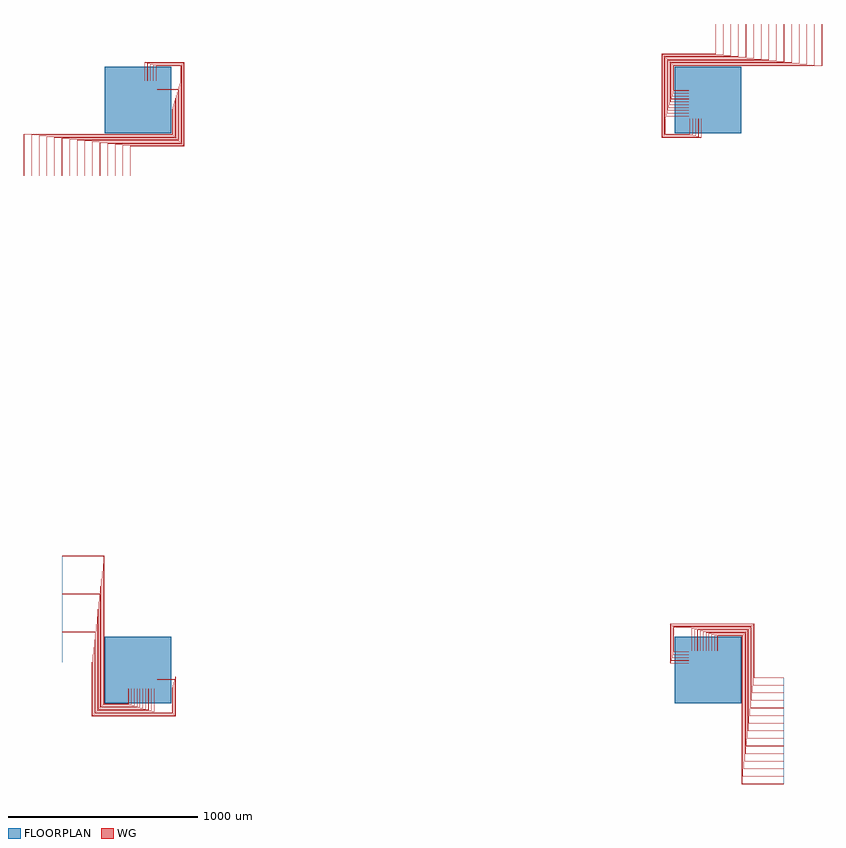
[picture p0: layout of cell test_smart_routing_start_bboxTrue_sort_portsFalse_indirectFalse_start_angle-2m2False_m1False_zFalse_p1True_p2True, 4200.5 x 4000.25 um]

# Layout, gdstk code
import gdstk
lib = gdstk.Library(unit=1e-6, precision=1e-09)
def R(c, l, rs):  # rectangles x0, y0, x1, y1
    for r in rs: c.add(gdstk.rectangle(r[:2], r[2:], *l))
def P(c, l, *ps):  # polygons
    for p in ps: c.add(gdstk.Polygon(p, *l))
WG = (1, 0)
FLOORPLAN = (10, 0)

test_smart_routing_start = lib.new_cell('test_smart_routing_start_bboxTrue_sort_portsFalse_indirectFalse_start_angle-2m2False_m1False_zFalse_p1True_p2True')
P(test_smart_routing_start, WG, [(2820.5,3049.75),(2820.5,3179.5),(3599.75,3179.5),(3599.75,3400),(3599.95,3400),(3599.95,3179.3),(2820.7,3179.3),(2820.7,3049.95),(2900,3049.95),(2900,3049.75)],
  [(2820.8,3050.05),(2820.8,3179.2),(3600.05,3179.2),(3600.05,3400),(3600.25,3400),(3600.25,3179),(2821,3179),(2821,3050.25),(2900,3050.25),(2900,3050.05)],
  [(2816,3034.75),(2816,3184),(3559.75,3184),(3559.75,3400),(3559.95,3400),(3559.95,3183.8),(2816.2,3183.8),(2816.2,3034.95),(2900,3034.95),(2900,3034.75)],
  [(2816.3,3035.05),(2816.3,3183.7),(3560.05,3183.7),(3560.05,3400),(3560.25,3400),(3560.25,3183.5),(2816.5,3183.5),(2816.5,3035.25),(2900,3035.25),(2900,3035.05)],
  [(2811.5,3019.75),(2811.5,3188.5),(3519.75,3188.5),(3519.75,3400),(3519.95,3400),(3519.95,3188.3),(2811.7,3188.3),(2811.7,3019.95),(2900,3019.95),(2900,3019.75)],
  [(2811.8,3020.05),(2811.8,3188.2),(3520.05,3188.2),(3520.05,3400),(3520.25,3400),(3520.25,3188),(2812,3188),(2812,3020.25),(2900,3020.25),(2900,3020.05)],
  [(2807,3004.75),(2807,3193),(3479.75,3193),(3479.75,3400),(3479.95,3400),(3479.95,3192.8),(2807.2,3192.8),(2807.2,3004.95),(2900,3004.95),(2900,3004.75)],
  [(2807.3,3005.05),(2807.3,3192.7),(3480.05,3192.7),(3480.05,3400),(3480.25,3400),(3480.25,3192.5),(2807.5,3192.5),(2807.5,3005.25),(2900,3005.25),(2900,3005.05)],
  [(2802.5,2989.75),(2802.5,3197.5),(3439.75,3197.5),(3439.75,3400),(3439.95,3400),(3439.95,3197.3),(2802.7,3197.3),(2802.7,2989.95),(2900,2989.95),(2900,2989.75)],
  [(2802.8,2990.05),(2802.8,3197.2),(3440.05,3197.2),(3440.05,3400),(3440.25,3400),(3440.25,3197),(2803,3197),(2803,2990.25),(2900,2990.25),(2900,2990.05)],
  [(2798,2974.75),(2798,3202),(3399.75,3202),(3399.75,3400),(3399.95,3400),(3399.95,3201.8),(2798.2,3201.8),(2798.2,2974.95),(2900,2974.95),(2900,2974.75)],
  [(2798.3,2975.05),(2798.3,3201.7),(3400.05,3201.7),(3400.05,3400),(3400.25,3400),(3400.25,3201.5),(2798.5,3201.5),(2798.5,2975.25),(2900,2975.25),(2900,2975.05)],
  [(2793.5,2959.75),(2793.5,3206.5),(3359.75,3206.5),(3359.75,3400),(3359.95,3400),(3359.95,3206.3),(2793.7,3206.3),(2793.7,2959.95),(2900,2959.95),(2900,2959.75)],
  [(2793.8,2960.05),(2793.8,3206.2),(3360.05,3206.2),(3360.05,3400),(3360.25,3400),(3360.25,3206),(2794,3206),(2794,2960.25),(2900,2960.25),(2900,2960.05)],
  [(2789,2944.75),(2789,3211),(3319.75,3211),(3319.75,3400),(3319.95,3400),(3319.95,3210.8),(2789.2,3210.8),(2789.2,2944.95),(2900,2944.95),(2900,2944.75)],
  [(2789.3,2945.05),(2789.3,3210.7),(3320.05,3210.7),(3320.05,3400),(3320.25,3400),(3320.25,3210.5),(2789.5,3210.5),(2789.5,2945.25),(2900,2945.25),(2900,2945.05)],
  [(2784.5,2929.75),(2784.5,3215.5),(3279.75,3215.5),(3279.75,3400),(3279.95,3400),(3279.95,3215.3),(2784.7,3215.3),(2784.7,2929.95),(2900,2929.95),(2900,2929.75)],
  [(2784.8,2930.05),(2784.8,3215.2),(3280.05,3215.2),(3280.05,3400),(3280.25,3400),(3280.25,3215),(2785,3215),(2785,2930.25),(2900,2930.25),(2900,2930.05)],
  [(2780,2914.75),(2780,3220),(3239.75,3220),(3239.75,3400),(3239.95,3400),(3239.95,3219.8),(2780.2,3219.8),(2780.2,2914.95),(2900,2914.95),(2900,2914.75)],
  [(2780.3,2915.05),(2780.3,3219.7),(3240.05,3219.7),(3240.05,3400),(3240.25,3400),(3240.25,3219.5),(2780.5,3219.5),(2780.5,2915.25),(2900,2915.25),(2900,2915.05)],
  [(2757.5,2802.5),(2757.5,3242.5),(3039.75,3242.5),(3039.75,3400),(3039.95,3400),(3039.95,3242.3),(2757.7,3242.3),(2757.7,2802.7),(2965.05,2802.7),(2965.05,2900),(2965.25,2900),(2965.25,2802.5)],
  [(2757.8,2802.8),(2757.8,3242.2),(3040.05,3242.2),(3040.05,3400),(3040.25,3400),(3040.25,3242),(2758,3242),(2758,2803),(2964.75,2803),(2964.75,2900),(2964.95,2900),(2964.95,2802.8)],
  [(2762,2807),(2762,3238),(3079.75,3238),(3079.75,3400),(3079.95,3400),(3079.95,3237.8),(2762.2,3237.8),(2762.2,2807.2),(2950.05,2807.2),(2950.05,2900),(2950.25,2900),(2950.25,2807)],
  [(2762.3,2807.3),(2762.3,3237.7),(3080.05,3237.7),(3080.05,3400),(3080.25,3400),(3080.25,3237.5),(2762.5,3237.5),(2762.5,2807.5),(2949.75,2807.5),(2949.75,2900),(2949.95,2900),(2949.95,2807.3)],
  [(2766.5,2811.5),(2766.5,3233.5),(3119.75,3233.5),(3119.75,3400),(3119.95,3400),(3119.95,3233.3),(2766.7,3233.3),(2766.7,2811.7),(2935.05,2811.7),(2935.05,2900),(2935.25,2900),(2935.25,2811.5)],
  [(2766.8,2811.8),(2766.8,3233.2),(3120.05,3233.2),(3120.05,3400),(3120.25,3400),(3120.25,3233),(2767,3233),(2767,2812),(2934.75,2812),(2934.75,2900),(2934.95,2900),(2934.95,2811.8)],
  [(2771,2816),(2771,3229),(3159.75,3229),(3159.75,3400),(3159.95,3400),(3159.95,3228.8),(2771.2,3228.8),(2771.2,2816.2),(2920.05,2816.2),(2920.05,2900),(2920.25,2900),(2920.25,2816)],
  [(2771.3,2816.3),(2771.3,3228.7),(3160.05,3228.7),(3160.05,3400),(3160.25,3400),(3160.25,3228.5),(2771.5,3228.5),(2771.5,2816.5),(2919.75,2816.5),(2919.75,2900),(2919.95,2900),(2919.95,2816.3)],
  [(2775.5,2820.5),(2775.5,3224.5),(3199.75,3224.5),(3199.75,3400),(3199.95,3400),(3199.95,3224.3),(2775.7,3224.3),(2775.7,2820.7),(2905.05,2820.7),(2905.05,2900),(2905.25,2900),(2905.25,2820.5)],
  [(2775.8,2820.8),(2775.8,3224.2),(3200.05,3224.2),(3200.05,3400),(3200.25,3400),(3200.25,3224),(2776,3224),(2776,2821),(2904.75,2821),(2904.75,2900),(2904.95,2900),(2904.95,2820.8)],
  [(-600.25,2600),(-600.25,2821),(179,2821),(179,2949.75),(100,2949.75),(100,2949.95),(179.2,2949.95),(179.2,2820.8),(-600.05,2820.8),(-600.05,2600)],
  [(-599.95,2600),(-599.95,2820.7),(179.3,2820.7),(179.3,2950.05),(100,2950.05),(100,2950.25),(179.5,2950.25),(179.5,2820.5),(-599.75,2820.5),(-599.75,2600)],
  [(-560.25,2600),(-560.25,2816.5),(183.5,2816.5),(183.5,2964.75),(100,2964.75),(100,2964.95),(183.7,2964.95),(183.7,2816.3),(-560.05,2816.3),(-560.05,2600)],
  [(-559.95,2600),(-559.95,2816.2),(183.8,2816.2),(183.8,2965.05),(100,2965.05),(100,2965.25),(184,2965.25),(184,2816),(-559.75,2816),(-559.75,2600)],
  [(-520.25,2600),(-520.25,2812),(188,2812),(188,2979.75),(100,2979.75),(100,2979.95),(188.2,2979.95),(188.2,2811.8),(-520.05,2811.8),(-520.05,2600)],
  [(-519.95,2600),(-519.95,2811.7),(188.3,2811.7),(188.3,2980.05),(100,2980.05),(100,2980.25),(188.5,2980.25),(188.5,2811.5),(-519.75,2811.5),(-519.75,2600)],
  [(-480.25,2600),(-480.25,2807.5),(192.5,2807.5),(192.5,2994.75),(100,2994.75),(100,2994.95),(192.7,2994.95),(192.7,2807.3),(-480.05,2807.3),(-480.05,2600)],
  [(-479.95,2600),(-479.95,2807.2),(192.8,2807.2),(192.8,2995.05),(100,2995.05),(100,2995.25),(193,2995.25),(193,2807),(-479.75,2807),(-479.75,2600)],
  [(-440.25,2600),(-440.25,2803),(197,2803),(197,3009.75),(100,3009.75),(100,3009.95),(197.2,3009.95),(197.2,2802.8),(-440.05,2802.8),(-440.05,2600)],
  [(-439.95,2600),(-439.95,2802.7),(197.3,2802.7),(197.3,3010.05),(100,3010.05),(100,3010.25),(197.5,3010.25),(197.5,2802.5),(-439.75,2802.5),(-439.75,2600)],
  [(-400.25,2600),(-400.25,2798.5),(201.5,2798.5),(201.5,3024.75),(100,3024.75),(100,3024.95),(201.7,3024.95),(201.7,2798.3),(-400.05,2798.3),(-400.05,2600)],
  [(-399.95,2600),(-399.95,2798.2),(201.8,2798.2),(201.8,3025.05),(100,3025.05),(100,3025.25),(202,3025.25),(202,2798),(-399.75,2798),(-399.75,2600)],
  [(-360.25,2600),(-360.25,2794),(206,2794),(206,3039.75),(100,3039.75),(100,3039.95),(206.2,3039.95),(206.2,2793.8),(-360.05,2793.8),(-360.05,2600)],
  [(-359.95,2600),(-359.95,2793.7),(206.3,2793.7),(206.3,3040.05),(100,3040.05),(100,3040.25),(206.5,3040.25),(206.5,2793.5),(-359.75,2793.5),(-359.75,2600)],
  [(-320.25,2600),(-320.25,2789.5),(210.5,2789.5),(210.5,3054.75),(100,3054.75),(100,3054.95),(210.7,3054.95),(210.7,2789.3),(-320.05,2789.3),(-320.05,2600)],
  [(-319.95,2600),(-319.95,2789.2),(210.8,2789.2),(210.8,3055.05),(100,3055.05),(100,3055.25),(211,3055.25),(211,2789),(-319.75,2789),(-319.75,2600)],
  [(-280.25,2600),(-280.25,2785),(215,2785),(215,3069.75),(100,3069.75),(100,3069.95),(215.2,3069.95),(215.2,2784.8),(-280.05,2784.8),(-280.05,2600)],
  [(-279.95,2600),(-279.95,2784.7),(215.3,2784.7),(215.3,3070.05),(100,3070.05),(100,3070.25),(215.5,3070.25),(215.5,2784.5),(-279.75,2784.5),(-279.75,2600)],
  [(-240.25,2600),(-240.25,2780.5),(219.5,2780.5),(219.5,3084.75),(100,3084.75),(100,3084.95),(219.7,3084.95),(219.7,2780.3),(-240.05,2780.3),(-240.05,2600)],
  [(-239.95,2600),(-239.95,2780.2),(219.8,2780.2),(219.8,3085.05),(100,3085.05),(100,3085.25),(220,3085.25),(220,2780),(-239.75,2780),(-239.75,2600)],
  [(-40.25,2600),(-40.25,2758),(242,2758),(242,3197),(35.25,3197),(35.25,3100),(35.05,3100),(35.05,3197.2),(242.2,3197.2),(242.2,2757.8),(-40.05,2757.8),(-40.05,2600)],
  [(-39.95,2600),(-39.95,2757.7),(242.3,2757.7),(242.3,3197.3),(34.95,3197.3),(34.95,3100),(34.75,3100),(34.75,3197.5),(242.5,3197.5),(242.5,2757.5),(-39.75,2757.5),(-39.75,2600)],
  [(-80.25,2600),(-80.25,2762.5),(237.5,2762.5),(237.5,3192.5),(50.25,3192.5),(50.25,3100),(50.05,3100),(50.05,3192.7),(237.7,3192.7),(237.7,2762.3),(-80.05,2762.3),(-80.05,2600)],
  [(-79.95,2600),(-79.95,2762.2),(237.8,2762.2),(237.8,3192.8),(49.95,3192.8),(49.95,3100),(49.75,3100),(49.75,3193),(238,3193),(238,2762),(-79.75,2762),(-79.75,2600)],
  [(-120.25,2600),(-120.25,2767),(233,2767),(233,3188),(65.25,3188),(65.25,3100),(65.05,3100),(65.05,3188.2),(233.2,3188.2),(233.2,2766.8),(-120.05,2766.8),(-120.05,2600)],
  [(-119.95,2600),(-119.95,2766.7),(233.3,2766.7),(233.3,3188.3),(64.95,3188.3),(64.95,3100),(64.75,3100),(64.75,3188.5),(233.5,3188.5),(233.5,2766.5),(-119.75,2766.5),(-119.75,2600)],
  [(-160.25,2600),(-160.25,2771.5),(228.5,2771.5),(228.5,3183.5),(80.25,3183.5),(80.25,3100),(80.05,3100),(80.05,3183.7),(228.7,3183.7),(228.7,2771.3),(-160.05,2771.3),(-160.05,2600)],
  [(-159.95,2600),(-159.95,2771.2),(228.8,2771.2),(228.8,3183.8),(79.95,3183.8),(79.95,3100),(79.75,3100),(79.75,3184),(229,3184),(229,2771),(-159.75,2771),(-159.75,2600)],
  [(-200.25,2600),(-200.25,2776),(224,2776),(224,3179),(95.25,3179),(95.25,3100),(95.05,3100),(95.05,3179.2),(224.2,3179.2),(224.2,2775.8),(-200.05,2775.8),(-200.05,2600)],
  [(-199.95,2600),(-199.95,2775.7),(224.3,2775.7),(224.3,3179.3),(94.95,3179.3),(94.95,3100),(94.75,3100),(94.75,3179.5),(224.5,3179.5),(224.5,2775.5),(-199.75,2775.5),(-199.75,2600)],
  [(-179.5,-179.5),(-179.5,599.75),(-400,599.75),(-400,599.95),(-179.3,599.95),(-179.3,-179.3),(-49.95,-179.3),(-49.95,-100),(-49.75,-100),(-49.75,-179.5)],
  [(-179.2,-179.2),(-179.2,600.05),(-400,600.05),(-400,600.25),(-179,600.25),(-179,-179),(-50.25,-179),(-50.25,-100),(-50.05,-100),(-50.05,-179.2)],
  [(-184,-184),(-184,559.75),(-400,559.75),(-400,559.95),(-183.8,559.95),(-183.8,-183.8),(-34.95,-183.8),(-34.95,-100),(-34.75,-100),(-34.75,-184)],
  [(-183.7,-183.7),(-183.7,560.05),(-400,560.05),(-400,560.25),(-183.5,560.25),(-183.5,-183.5),(-35.25,-183.5),(-35.25,-100),(-35.05,-100),(-35.05,-183.7)],
  [(-188.5,-188.5),(-188.5,519.75),(-400,519.75),(-400,519.95),(-188.3,519.95),(-188.3,-188.3),(-19.95,-188.3),(-19.95,-100),(-19.75,-100),(-19.75,-188.5)],
  [(-188.2,-188.2),(-188.2,520.05),(-400,520.05),(-400,520.25),(-188,520.25),(-188,-188),(-20.25,-188),(-20.25,-100),(-20.05,-100),(-20.05,-188.2)],
  [(-193,-193),(-193,479.75),(-400,479.75),(-400,479.95),(-192.8,479.95),(-192.8,-192.8),(-4.95,-192.8),(-4.95,-100),(-4.75,-100),(-4.75,-193)],
  [(-192.7,-192.7),(-192.7,480.05),(-400,480.05),(-400,480.25),(-192.5,480.25),(-192.5,-192.5),(-5.25,-192.5),(-5.25,-100),(-5.05,-100),(-5.05,-192.7)],
  [(-197.5,-197.5),(-197.5,439.75),(-400,439.75),(-400,439.95),(-197.3,439.95),(-197.3,-197.3),(10.05,-197.3),(10.05,-100),(10.25,-100),(10.25,-197.5)],
  [(-197.2,-197.2),(-197.2,440.05),(-400,440.05),(-400,440.25),(-197,440.25),(-197,-197),(9.75,-197),(9.75,-100),(9.95,-100),(9.95,-197.2)],
  [(-202,-202),(-202,399.75),(-400,399.75),(-400,399.95),(-201.8,399.95),(-201.8,-201.8),(25.05,-201.8),(25.05,-100),(25.25,-100),(25.25,-202)],
  [(-201.7,-201.7),(-201.7,400.05),(-400,400.05),(-400,400.25),(-201.5,400.25),(-201.5,-201.5),(24.75,-201.5),(24.75,-100),(24.95,-100),(24.95,-201.7)],
  [(-206.5,-206.5),(-206.5,359.75),(-400,359.75),(-400,359.95),(-206.3,359.95),(-206.3,-206.3),(40.05,-206.3),(40.05,-100),(40.25,-100),(40.25,-206.5)],
  [(-206.2,-206.2),(-206.2,360.05),(-400,360.05),(-400,360.25),(-206,360.25),(-206,-206),(39.75,-206),(39.75,-100),(39.95,-100),(39.95,-206.2)],
  [(-211,-211),(-211,319.75),(-400,319.75),(-400,319.95),(-210.8,319.95),(-210.8,-210.8),(55.05,-210.8),(55.05,-100),(55.25,-100),(55.25,-211)],
  [(-210.7,-210.7),(-210.7,320.05),(-400,320.05),(-400,320.25),(-210.5,320.25),(-210.5,-210.5),(54.75,-210.5),(54.75,-100),(54.95,-100),(54.95,-210.7)],
  [(-215.5,-215.5),(-215.5,279.75),(-400,279.75),(-400,279.95),(-215.3,279.95),(-215.3,-215.3),(70.05,-215.3),(70.05,-100),(70.25,-100),(70.25,-215.5)],
  [(-215.2,-215.2),(-215.2,280.05),(-400,280.05),(-400,280.25),(-215,280.25),(-215,-215),(69.75,-215),(69.75,-100),(69.95,-100),(69.95,-215.2)],
  [(-220,-220),(-220,239.75),(-400,239.75),(-400,239.95),(-219.8,239.95),(-219.8,-219.8),(85.05,-219.8),(85.05,-100),(85.25,-100),(85.25,-220)],
  [(-219.7,-219.7),(-219.7,240.05),(-400,240.05),(-400,240.25),(-219.5,240.25),(-219.5,-219.5),(84.75,-219.5),(84.75,-100),(84.95,-100),(84.95,-219.7)],
  [(-242.5,-242.5),(-242.5,39.75),(-400,39.75),(-400,39.95),(-242.3,39.95),(-242.3,-242.3),(197.3,-242.3),(197.3,-34.95),(100,-34.95),(100,-34.75),(197.5,-34.75),(197.5,-242.5)],
  [(-242.2,-242.2),(-242.2,40.05),(-400,40.05),(-400,40.25),(-242,40.25),(-242,-242),(197,-242),(197,-35.25),(100,-35.25),(100,-35.05),(197.2,-35.05),(197.2,-242.2)],
  [(-238,-238),(-238,79.75),(-400,79.75),(-400,79.95),(-237.8,79.95),(-237.8,-237.8),(192.8,-237.8),(192.8,-49.95),(100,-49.95),(100,-49.75),(193,-49.75),(193,-238)],
  [(-237.7,-237.7),(-237.7,80.05),(-400,80.05),(-400,80.25),(-237.5,80.25),(-237.5,-237.5),(192.5,-237.5),(192.5,-50.25),(100,-50.25),(100,-50.05),(192.7,-50.05),(192.7,-237.7)],
  [(-233.5,-233.5),(-233.5,119.75),(-400,119.75),(-400,119.95),(-233.3,119.95),(-233.3,-233.3),(188.3,-233.3),(188.3,-64.95),(100,-64.95),(100,-64.75),(188.5,-64.75),(188.5,-233.5)],
  [(-233.2,-233.2),(-233.2,120.05),(-400,120.05),(-400,120.25),(-233,120.25),(-233,-233),(188,-233),(188,-65.25),(100,-65.25),(100,-65.05),(188.2,-65.05),(188.2,-233.2)],
  [(-229,-229),(-229,159.75),(-400,159.75),(-400,159.95),(-228.8,159.95),(-228.8,-228.8),(183.8,-228.8),(183.8,-79.95),(100,-79.95),(100,-79.75),(184,-79.75),(184,-229)],
  [(-228.7,-228.7),(-228.7,160.05),(-400,160.05),(-400,160.25),(-228.5,160.25),(-228.5,-228.5),(183.5,-228.5),(183.5,-80.25),(100,-80.25),(100,-80.05),(183.7,-80.05),(183.7,-228.7)],
  [(-224.5,-224.5),(-224.5,199.75),(-400,199.75),(-400,199.95),(-224.3,199.95),(-224.3,-224.3),(179.3,-224.3),(179.3,-94.95),(100,-94.95),(100,-94.75),(179.5,-94.75),(179.5,-224.5)],
  [(-224.2,-224.2),(-224.2,200.05),(-400,200.05),(-400,200.25),(-224,200.25),(-224,-224),(179,-224),(179,-95.25),(100,-95.25),(100,-95.05),(179.2,-95.05),(179.2,-224.2)],
  [(3179,-600.25),(3179,179),(3050.25,179),(3050.25,100),(3050.05,100),(3050.05,179.2),(3179.2,179.2),(3179.2,-600.05),(3400,-600.05),(3400,-600.25)],
  [(3179.3,-599.95),(3179.3,179.3),(3049.95,179.3),(3049.95,100),(3049.75,100),(3049.75,179.5),(3179.5,179.5),(3179.5,-599.75),(3400,-599.75),(3400,-599.95)],
  [(3183.5,-560.25),(3183.5,183.5),(3035.25,183.5),(3035.25,100),(3035.05,100),(3035.05,183.7),(3183.7,183.7),(3183.7,-560.05),(3400,-560.05),(3400,-560.25)],
  [(3183.8,-559.95),(3183.8,183.8),(3034.95,183.8),(3034.95,100),(3034.75,100),(3034.75,184),(3184,184),(3184,-559.75),(3400,-559.75),(3400,-559.95)],
  [(3188,-520.25),(3188,188),(3020.25,188),(3020.25,100),(3020.05,100),(3020.05,188.2),(3188.2,188.2),(3188.2,-520.05),(3400,-520.05),(3400,-520.25)],
  [(3188.3,-519.95),(3188.3,188.3),(3019.95,188.3),(3019.95,100),(3019.75,100),(3019.75,188.5),(3188.5,188.5),(3188.5,-519.75),(3400,-519.75),(3400,-519.95)],
  [(3192.5,-480.25),(3192.5,192.5),(3005.25,192.5),(3005.25,100),(3005.05,100),(3005.05,192.7),(3192.7,192.7),(3192.7,-480.05),(3400,-480.05),(3400,-480.25)],
  [(3192.8,-479.95),(3192.8,192.8),(3004.95,192.8),(3004.95,100),(3004.75,100),(3004.75,193),(3193,193),(3193,-479.75),(3400,-479.75),(3400,-479.95)],
  [(3197,-440.25),(3197,197),(2990.25,197),(2990.25,100),(2990.05,100),(2990.05,197.2),(3197.2,197.2),(3197.2,-440.05),(3400,-440.05),(3400,-440.25)],
  [(3197.3,-439.95),(3197.3,197.3),(2989.95,197.3),(2989.95,100),(2989.75,100),(2989.75,197.5),(3197.5,197.5),(3197.5,-439.75),(3400,-439.75),(3400,-439.95)],
  [(3201.5,-400.25),(3201.5,201.5),(2975.25,201.5),(2975.25,100),(2975.05,100),(2975.05,201.7),(3201.7,201.7),(3201.7,-400.05),(3400,-400.05),(3400,-400.25)],
  [(3201.8,-399.95),(3201.8,201.8),(2974.95,201.8),(2974.95,100),(2974.75,100),(2974.75,202),(3202,202),(3202,-399.75),(3400,-399.75),(3400,-399.95)],
  [(3206,-360.25),(3206,206),(2960.25,206),(2960.25,100),(2960.05,100),(2960.05,206.2),(3206.2,206.2),(3206.2,-360.05),(3400,-360.05),(3400,-360.25)],
  [(3206.3,-359.95),(3206.3,206.3),(2959.95,206.3),(2959.95,100),(2959.75,100),(2959.75,206.5),(3206.5,206.5),(3206.5,-359.75),(3400,-359.75),(3400,-359.95)],
  [(3210.5,-320.25),(3210.5,210.5),(2945.25,210.5),(2945.25,100),(2945.05,100),(2945.05,210.7),(3210.7,210.7),(3210.7,-320.05),(3400,-320.05),(3400,-320.25)],
  [(3210.8,-319.95),(3210.8,210.8),(2944.95,210.8),(2944.95,100),(2944.75,100),(2944.75,211),(3211,211),(3211,-319.75),(3400,-319.75),(3400,-319.95)],
  [(3215,-280.25),(3215,215),(2930.25,215),(2930.25,100),(2930.05,100),(2930.05,215.2),(3215.2,215.2),(3215.2,-280.05),(3400,-280.05),(3400,-280.25)],
  [(3215.3,-279.95),(3215.3,215.3),(2929.95,215.3),(2929.95,100),(2929.75,100),(2929.75,215.5),(3215.5,215.5),(3215.5,-279.75),(3400,-279.75),(3400,-279.95)],
  [(3219.5,-240.25),(3219.5,219.5),(2915.25,219.5),(2915.25,100),(2915.05,100),(2915.05,219.7),(3219.7,219.7),(3219.7,-240.05),(3400,-240.05),(3400,-240.25)],
  [(3219.8,-239.95),(3219.8,219.8),(2914.95,219.8),(2914.95,100),(2914.75,100),(2914.75,220),(3220,220),(3220,-239.75),(3400,-239.75),(3400,-239.95)],
  [(3242,-40.25),(3242,242),(2803,242),(2803,35.25),(2900,35.25),(2900,35.05),(2802.8,35.05),(2802.8,242.2),(3242.2,242.2),(3242.2,-40.05),(3400,-40.05),(3400,-40.25)],
  [(3242.3,-39.95),(3242.3,242.3),(2802.7,242.3),(2802.7,34.95),(2900,34.95),(2900,34.75),(2802.5,34.75),(2802.5,242.5),(3242.5,242.5),(3242.5,-39.75),(3400,-39.75),(3400,-39.95)],
  [(3237.5,-80.25),(3237.5,237.5),(2807.5,237.5),(2807.5,50.25),(2900,50.25),(2900,50.05),(2807.3,50.05),(2807.3,237.7),(3237.7,237.7),(3237.7,-80.05),(3400,-80.05),(3400,-80.25)],
  [(3237.8,-79.95),(3237.8,237.8),(2807.2,237.8),(2807.2,49.95),(2900,49.95),(2900,49.75),(2807,49.75),(2807,238),(3238,238),(3238,-79.75),(3400,-79.75),(3400,-79.95)],
  [(3233,-120.25),(3233,233),(2812,233),(2812,65.25),(2900,65.25),(2900,65.05),(2811.8,65.05),(2811.8,233.2),(3233.2,233.2),(3233.2,-120.05),(3400,-120.05),(3400,-120.25)],
  [(3233.3,-119.95),(3233.3,233.3),(2811.7,233.3),(2811.7,64.95),(2900,64.95),(2900,64.75),(2811.5,64.75),(2811.5,233.5),(3233.5,233.5),(3233.5,-119.75),(3400,-119.75),(3400,-119.95)],
  [(3228.5,-160.25),(3228.5,228.5),(2816.5,228.5),(2816.5,80.25),(2900,80.25),(2900,80.05),(2816.3,80.05),(2816.3,228.7),(3228.7,228.7),(3228.7,-160.05),(3400,-160.05),(3400,-160.25)],
  [(3228.8,-159.95),(3228.8,228.8),(2816.2,228.8),(2816.2,79.95),(2900,79.95),(2900,79.75),(2816,79.75),(2816,229),(3229,229),(3229,-159.75),(3400,-159.75),(3400,-159.95)],
  [(3224,-200.25),(3224,224),(2821,224),(2821,95.25),(2900,95.25),(2900,95.05),(2820.8,95.05),(2820.8,224.2),(3224.2,224.2),(3224.2,-200.05),(3400,-200.05),(3400,-200.25)],
  [(3224.3,-199.95),(3224.3,224.3),(2820.7,224.3),(2820.7,94.95),(2900,94.95),(2900,94.75),(2820.5,94.75),(2820.5,224.5),(3224.5,224.5),(3224.5,-199.75),(3400,-199.75),(3400,-199.95)])
R(test_smart_routing_start, FLOORPLAN, [(-175,-175,175,175), (2825,-175,3175,175), (-175,2825,175,3175), (2825,2825,3175,3175)])
P(test_smart_routing_start, FLOORPLAN, [(-400,40),(-400,600),(-400,600),(-400,40)],
  [(-600,2600),(-600,2600),(-40,2600),(-40,2600)],
  [(3400,-600),(3400,-40),(3400,-40),(3400,-600)],
  [(3040,3400),(3040,3400),(3600,3400),(3600,3400)])

lib.write_gds('test_smart_routing_start_bboxTrue_sort_portsFalse_indirectFalse_start_angle-2m2False_m1False_zFalse_p1True_p2True.gds')
